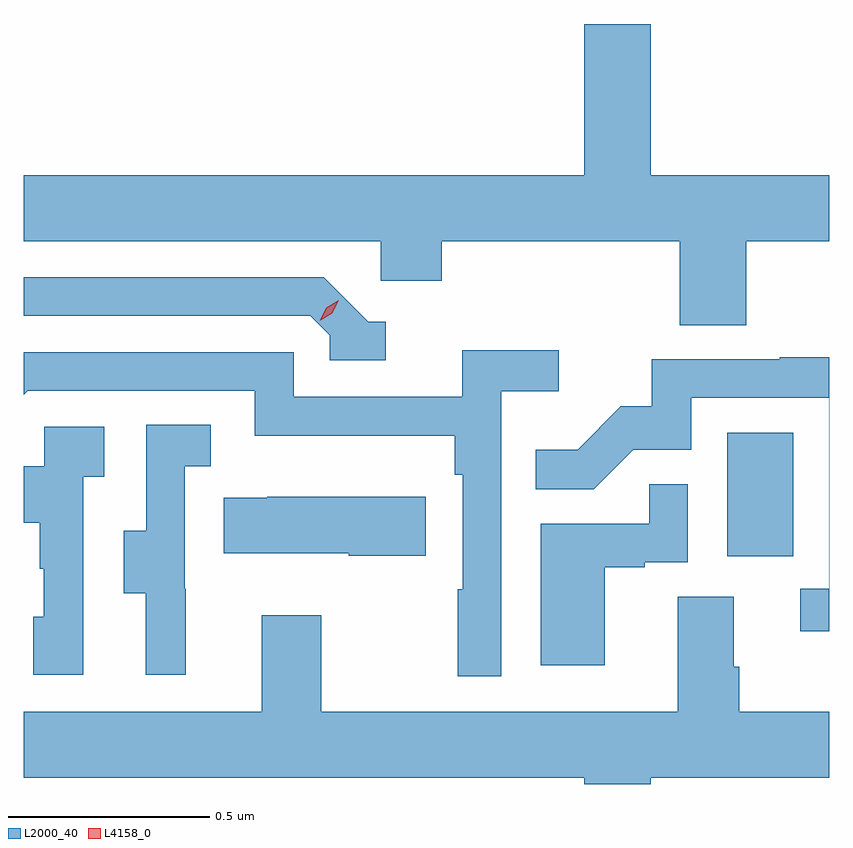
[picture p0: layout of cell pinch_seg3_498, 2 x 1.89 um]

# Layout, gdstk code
import gdstk
lib = gdstk.Library(unit=1e-6, precision=1e-09)
def R(c, l, rs):  # rectangles x0, y0, x1, y1
    for r in rs: c.add(gdstk.rectangle(r[:2], r[2:], *l))
def P(c, l, *ps):  # polygons
    for p in ps: c.add(gdstk.Polygon(p, *l))
L2000_40 = (2000, 40)
L4158_0 = (4158, 0)

pinch_seg3_498 = lib.new_cell('pinch_seg3_498')
R(pinch_seg3_498, L2000_40, [(980.546,684.15,980.71,684.457)])
P(pinch_seg3_498, L2000_40, [(980.594,684.932),(980.8,684.932),(980.8,685.096),(980.356,685.096),(980.356,685.471),(980.192,685.471),(980.192,685.096),(978.8,685.096),(978.8,684.932),(979.686,684.932),(979.686,684.834),(979.838,684.834),(979.838,684.932),(980.429,684.932),(980.429,684.724),(980.594,684.724)],
  [(979.699,684.732),(979.656,684.732),(979.545,684.843),(978.8,684.843),(978.8,684.747),(979.512,684.747),(979.56,684.699),(979.56,684.636),(979.699,684.636)],
  [(979.986,684.56),(980.128,684.56),(980.128,684.662),(979.889,684.662),(979.889,684.546),(979.47,684.546),(979.47,684.657),(978.8,684.657),(978.8,684.551),(978.81,684.561),(979.374,684.561),(979.374,684.449),(979.87,684.449),(979.87,684.353),(979.89,684.353),(979.89,684.068),(979.878,684.068),(979.878,683.853),(979.986,683.853)],
  [(980.8,684.644),(980.677,684.644),(980.677,684.639),(980.359,684.639),(980.359,684.522),(980.282,684.522),(980.175,684.415),(980.071,684.415),(980.071,684.316),(980.215,684.316),(980.313,684.414),(980.457,684.414),(980.457,684.543),(980.799,684.543),(980.799,684.069),(980.727,684.069),(980.727,683.964),(980.8,683.964)],
  [(979.202,684.069),(979.2,684.069),(979.2,684.373),(979.264,684.373),(979.264,684.476),(979.104,684.476),(979.104,684.213),(979.049,684.213),(979.049,684.058),(979.103,684.058),(979.103,683.856),(979.202,683.856)],
  [(978.948,684.347),(979,684.347),(979,684.471),(978.852,684.471),(978.852,684.373),(978.8,684.373),(978.8,684.233),(978.84,684.233),(978.84,684.119),(978.85,684.119),(978.85,684),(978.824,684),(978.824,683.856),(978.948,683.856)],
  [(980.242,684.123),(980.342,684.123),(980.342,684.135),(980.448,684.135),(980.448,684.329),(980.353,684.329),(980.353,684.231),(980.084,684.231),(980.084,683.88),(980.242,683.88)],
  [(979.798,684.298),(979.405,684.298),(979.405,684.295),(979.297,684.295),(979.297,684.158),(979.607,684.158),(979.607,684.151),(979.798,684.151)],
  [(980.356,683.6),(980.8,683.6),(980.8,683.764),(980.576,683.764),(980.576,683.876),(980.563,683.876),(980.563,684.05),(980.423,684.05),(980.423,683.764),(979.539,683.764),(979.539,684.004),(979.391,684.004),(979.391,683.764),(978.8,683.764),(978.8,683.6),(980.192,683.6),(980.192,683.585),(980.356,683.585)])
P(pinch_seg3_498, L4158_0, [(979.535,684.734),(979.535,684.734),(979.551,684.767),(979.582,684.786),(979.582,684.786),(979.582,684.785),(979.566,684.753),(979.535,684.734)])

lib.write_gds('pinch_seg3_498.gds')
